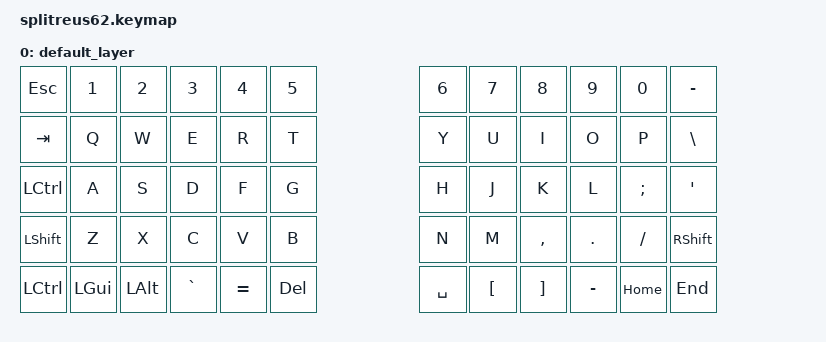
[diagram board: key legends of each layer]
/*
 * Copyright (c) 2020 The ZMK Contributors
 *
 * SPDX-License-Identifier: MIT
 */


#include <behaviors.dtsi>
#include <dt-bindings/zmk/keys.h>
#include <dt-bindings/zmk/matrix_transform.h>

/ {
    default_transform: keymap_transform_0 {
        compatible = "zmk,matrix-transform";
        columns = <12>;
        rows = <5>;
        map = <
RC(0,0) RC(0,1) RC(0,2) RC(0,3) RC(0,4) RC(0,5)                 RC(0,6) RC(0,7) RC(0,8) RC(0,9) RC(0,10) RC(0,11)
RC(1,0) RC(1,1) RC(1,2) RC(1,3) RC(1,4) RC(1,5)                 RC(1,6) RC(1,7) RC(1,8) RC(1,9) RC(1,10) RC(1,11)
RC(2,0) RC(2,1) RC(2,2) RC(2,3) RC(2,4) RC(2,5)                 RC(2,6) RC(2,7) RC(2,8) RC(2,9) RC(2,10) RC(2,11)
RC(3,0) RC(3,1) RC(3,2) RC(3,3) RC(3,4) RC(3,5)                 RC(3,6) RC(3,7) RC(3,8) RC(3,9) RC(3,10) RC(3,11)
RC(4,0) RC(4,1) RC(4,2) RC(4,3) RC(4,4) RC(4,5)                 RC(4,6) RC(4,7) RC(4,8) RC(4,9) RC(4,10) RC(4,11)
        >;
    };
    kscan0: kscan {
        compatible = "zmk,kscan-gpio-matrix";
        diode-direction = "col2row";
        row-gpios
            = <&pro_micro 9 (GPIO_ACTIVE_HIGH | GPIO_PULL_DOWN)>
            , <&pro_micro 8 (GPIO_ACTIVE_HIGH | GPIO_PULL_DOWN)>
            , <&pro_micro 7 (GPIO_ACTIVE_HIGH | GPIO_PULL_DOWN)>
            , <&pro_micro 6 (GPIO_ACTIVE_HIGH | GPIO_PULL_DOWN)>
            , <&pro_micro 5 (GPIO_ACTIVE_HIGH | GPIO_PULL_DOWN)>
            ;
        col-gpios
            = <&pro_micro 10 GPIO_ACTIVE_HIGH>
            , <&pro_micro 16 GPIO_ACTIVE_HIGH>
            , <&pro_micro 14 GPIO_ACTIVE_HIGH>
            , <&pro_micro 15 GPIO_ACTIVE_HIGH>
            , <&pro_micro 18 GPIO_ACTIVE_HIGH>
            , <&pro_micro 19 GPIO_ACTIVE_HIGH>
            ;
    };

    keymap {
        compatible = "zmk,keymap";

        default_layer {
// ------------------------------------------------------------------------------------------------------------
// |  ESC  |  1  |  2  |  3   |  4   |  5   |                   |  6   |  7    |  8    |  9   |   0   |   -   |
// |  TAB  |  Q  |  W  |  E   |  R   |  T   |                   |  Y   |  U    |  I    |  O   |   P   |   \   |
// |  CTRL |  A  |  S  |  D   |  F   |  G   |                   |  H   |  J    |  K    |  L   |   ;   |   '   |
// | SHIFT |  Z  |  X  |  C   |  V   |  B   |                   |  N   |  M    |  ,    |  .   |   /   | SHIFT |
// | LCTL  | LGUI| LALT| GRAV | EQL  |  DEL |                   | SPC  | LBKT |  RBKT  | LBKT | HOME  |   END |
            bindings = <
&kp ESC   &kp N1    &kp N2   &kp N3    &kp N4    &kp N5                    &kp N6    &kp N7   &kp N8    &kp N9    &kp N0   &kp MINUS
&kp TAB   &kp Q     &kp W    &kp E     &kp R     &kp T                     &kp Y     &kp U    &kp I     &kp O     &kp P    &kp BSLH
&kp LCTRL &kp A     &kp S    &kp D     &kp F     &kp G                     &kp H     &kp J    &kp K     &kp L     &kp SEMI &kp SQT
&kp LSHFT &kp Z     &kp X    &kp C     &kp V     &kp B                     &kp N     &kp M    &kp COMMA &kp DOT   &kp FSLH &kp RSHFT
&kp LCTRL &kp LGUI  &kp LALT &kp GRAVE &kp EQUAL &kp DEL                   &kp SPACE &kp LBKT &kp RBKT  &kp MINUS &kp HOME &kp END
            >;
        };
    };
};
